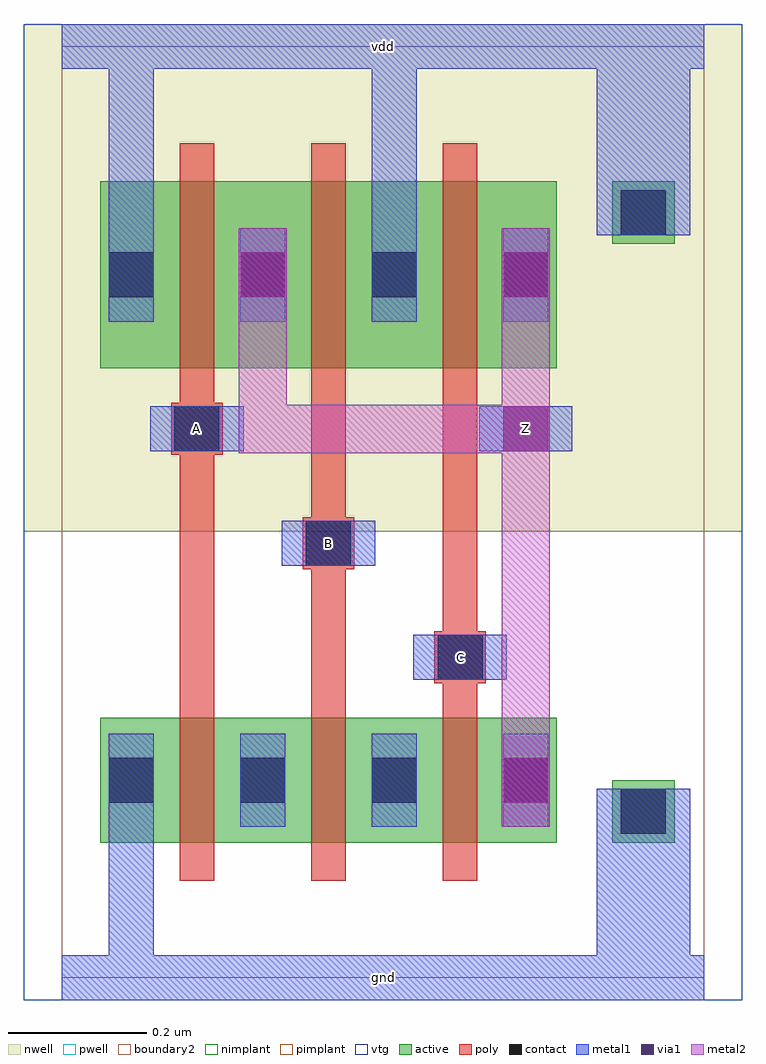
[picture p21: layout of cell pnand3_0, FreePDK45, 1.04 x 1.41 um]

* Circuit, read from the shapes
.subckt pnand3_0 A B C Z gnd vdd
M1 nmos_m1_w0_180_a_p_3/D A gnd gnd nfet w=0.18u l=0.05u
M2 nmos_m1_w0_180_a_p_4/D B nmos_m1_w0_180_a_p_3/D gnd nfet w=0.18u l=0.05u
M3 Z C nmos_m1_w0_180_a_p_4/D gnd nfet w=0.18u l=0.05u
M4 Z A vdd vdd pfet w=0.27u l=0.05u
M5 vdd B Z vdd pfet w=0.27u l=0.05u
M6 Z C vdd vdd pfet w=0.27u l=0.05u
.ends

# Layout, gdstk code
import gdstk
lib = gdstk.Library(unit=1e-6, precision=5e-10)
def R(c, l, rs):  # rectangles x0, y0, x1, y1
    for r in rs: c.add(gdstk.rectangle(r[:2], r[2:], *l))
def A(c, l, x, y, w, h, nx, ny, dx, dy):  # array of equal rectangles
    R(c, l, [(x+i*dx, y+j*dy, x+i*dx+w, y+j*dy+h) for i in range(nx) for j in range(ny)])
active = (1, 0)
pwell = (2, 0)
nwell = (3, 0)
nimplant = (4, 0)
pimplant = (5, 0)
vtg = (6, 0)
poly = (9, 0)
contact = (10, 0)
metal1 = (11, 0)
via1 = (12, 0)
metal2 = (13, 0)
boundary2 = (239, 0)

contact_11 = lib.new_cell('contact_11')
R(contact_11, active, [(0,0.0225,0.09,0.1125)])
R(contact_11, nwell, [(-0.055,-0.0325,0.145,0.1675)])
R(contact_11, pimplant, [(0,0.0225,0.09,0.1125)])
R(contact_11, contact, [(0.0125,0.035,0.0775,0.1)])
R(contact_11, metal1, [(0.0125,0,0.0775,0.135)])

pmos_m1_w0_270_a_p = lib.new_cell('pmos_m1_w0_270_a_p')
R(pmos_m1_w0_270_a_p, active, [(0,0,0.28,0.27)])
R(pmos_m1_w0_270_a_p, nwell, [(-0.055,-0.055,0.335,0.325)])
R(pmos_m1_w0_270_a_p, pimplant, [(0,0,0.28,0.27)])
R(pmos_m1_w0_270_a_p, vtg, [(-0.055,-0.055,0.335,0.325)])
R(pmos_m1_w0_270_a_p, poly, [(0.115,-0.055,0.165,0.325), (0.115,-0.055,0.165,0.325)])
R(pmos_m1_w0_270_a_p, metal1, [(0.0125,0.0675,0.0775,0.2025), (0.2025,0.0675,0.2675,0.2025)])
R(pmos_m1_w0_270_a_p, boundary2, [(-0.055,-0.055,0.335,0.325)])
pmos_m1_w0_270_a_p.add(gdstk.Reference(contact_11, (0,0.0675)))
pmos_m1_w0_270_a_p.add(gdstk.Reference(contact_11, (0.19,0.0675)))
pmos_m1_w0_270_a_p.add(gdstk.Label('G', (0.14,0.135), layer=9, texttype=0))
pmos_m1_w0_270_a_p.add(gdstk.Label('S', (0.045,0.135), layer=11, texttype=0))
pmos_m1_w0_270_a_p.add(gdstk.Label('D', (0.235,0.135), layer=11, texttype=0))

contact_16 = lib.new_cell('contact_16')
R(contact_16, active, [(0,0.0225,0.09,0.1125)])
R(contact_16, pwell, [(-0.055,-0.0325,0.145,0.1675)])
R(contact_16, nimplant, [(0,0.0225,0.09,0.1125)])
R(contact_16, contact, [(0.0125,0.035,0.0775,0.1)])
R(contact_16, metal1, [(0.0125,0,0.0775,0.135)])

nmos_m1_w0_180_a_p = lib.new_cell('nmos_m1_w0_180_a_p')
R(nmos_m1_w0_180_a_p, active, [(0,0,0.28,0.18)])
R(nmos_m1_w0_180_a_p, pwell, [(-0.055,-0.055,0.335,0.235)])
R(nmos_m1_w0_180_a_p, nimplant, [(0,0,0.28,0.18)])
R(nmos_m1_w0_180_a_p, vtg, [(-0.055,-0.055,0.335,0.235)])
R(nmos_m1_w0_180_a_p, poly, [(0.115,-0.055,0.165,0.235), (0.115,-0.055,0.165,0.235)])
R(nmos_m1_w0_180_a_p, metal1, [(0.0125,0.0225,0.0775,0.1575), (0.2025,0.0225,0.2675,0.1575)])
R(nmos_m1_w0_180_a_p, boundary2, [(-0.055,-0.055,0.335,0.235)])
nmos_m1_w0_180_a_p.add(gdstk.Reference(contact_16, (0,0.0225)))
nmos_m1_w0_180_a_p.add(gdstk.Reference(contact_16, (0.19,0.0225)))
nmos_m1_w0_180_a_p.add(gdstk.Label('G', (0.14,0.09), layer=9, texttype=0))
nmos_m1_w0_180_a_p.add(gdstk.Label('S', (0.045,0.09), layer=11, texttype=0))
nmos_m1_w0_180_a_p.add(gdstk.Label('D', (0.235,0.09), layer=11, texttype=0))

contact_13 = lib.new_cell('contact_13')
R(contact_13, active, [(0.0225,0,0.1125,0.09)])
R(contact_13, nwell, [(-0.0325,-0.055,0.1675,0.145)])
R(contact_13, nimplant, [(0.0225,0,0.1125,0.09)])
R(contact_13, contact, [(0.035,0.0125,0.1,0.0775)])
R(contact_13, metal1, [(0,0.0125,0.135,0.0775)])

contact_17 = lib.new_cell('contact_17')
R(contact_17, active, [(0.0225,0,0.1125,0.09)])
R(contact_17, pwell, [(-0.0325,-0.055,0.1675,0.145)])
R(contact_17, pimplant, [(0.0225,0,0.1125,0.09)])
R(contact_17, contact, [(0.035,0.0125,0.1,0.0775)])
R(contact_17, metal1, [(0,0.0125,0.135,0.0775)])

contact_12 = lib.new_cell('contact_12')
R(contact_12, poly, [(0.03,0,0.105,0.075)])
R(contact_12, contact, [(0.035,0.005,0.1,0.07)])
R(contact_12, metal1, [(0,0.005,0.135,0.07)])

contact_14 = lib.new_cell('contact_14')
R(contact_14, metal1, [(0.0025,0,0.0675,0.135)])
R(contact_14, via1, [(0.0025,0.035,0.0675,0.1)])
R(contact_14, metal2, [(0,0,0.07,0.135)])

contact_19 = lib.new_cell('contact_19')
R(contact_19, metal1, [(0,0.035,0.135,0.1)])
R(contact_19, via1, [(0.035,0.035,0.1,0.1)])
R(contact_19, metal2, [(0.0325,0,0.1025,0.135)])

pnand3_0 = lib.new_cell('pnand3_0')
R(pnand3_0, pwell, [(-0.055,-0.0325,0.9825,0.645)])
R(pnand3_0, nwell, [(-0.055,0.645,0.9825,1.3775)])
R(pnand3_0, vtg, [(-0.055,-0.0325,0.9825,0.645), (-0.055,0.645,0.9825,1.3775)])
A(pnand3_0, poly, 0.17, 0.43, 0.05, 0.395, 3, 1, 0.19, 0)
R(pnand3_0, poly, [(0.55,0.425,0.575,0.5), (0.36,0.59,0.385,0.665), (0.17,0.755,0.195,0.83)])
R(pnand3_0, metal1, [(0,-0.0325,0.9275,0.0325), (0.0675,-0.0325,0.1325,0.2175), (0.7725,0,0.9075,0.24), (0.5075,0.43,0.6425,0.495), (0.3175,0.595,0.4525,0.66), (0.1275,0.76,0.2625,0.825), (0.6025,0.76,0.7375,0.825), (0.0675,0.9475,0.1325,1.3775), (0.4475,0.9475,0.5125,1.3775), (0.7725,1.105,0.9075,1.345), (0,1.3125,0.9275,1.3775)])
R(pnand3_0, metal2, [(0.635,0.3525,0.705,1.015), (0.635,0.3525,0.705,0.7925), (0.255,0.7575,0.325,0.8275), (0.29,0.7575,0.67,0.8275), (0.635,0.7575,0.705,0.8275), (0.255,0.7925,0.325,1.015)])
R(pnand3_0, boundary2, [(0,0,0.9275,1.345)])
pnand3_0.add(gdstk.Reference(pmos_m1_w0_270_a_p, (0.055,0.88)))
pnand3_0.add(gdstk.Reference(pmos_m1_w0_270_a_p, (0.245,0.88)))
pnand3_0.add(gdstk.Reference(pmos_m1_w0_270_a_p, (0.435,0.88)))
pnand3_0.add(gdstk.Reference(nmos_m1_w0_180_a_p, (0.055,0.195)))
pnand3_0.add(gdstk.Reference(nmos_m1_w0_180_a_p, (0.245,0.195)))
pnand3_0.add(gdstk.Reference(nmos_m1_w0_180_a_p, (0.435,0.195)))
pnand3_0.add(gdstk.Reference(contact_13, (0.7725,1.06)))
pnand3_0.add(gdstk.Reference(contact_17, (0.7725,0.195)))
pnand3_0.add(gdstk.Reference(contact_12, (0.5075,0.425)))
pnand3_0.add(gdstk.Reference(contact_12, (0.3175,0.59)))
pnand3_0.add(gdstk.Reference(contact_12, (0.1275,0.755)))
pnand3_0.add(gdstk.Reference(contact_14, (0.255,0.9475)))
pnand3_0.add(gdstk.Reference(contact_14, (0.635,0.9475)))
pnand3_0.add(gdstk.Reference(contact_14, (0.635,0.2175)))
pnand3_0.add(gdstk.Reference(contact_19, (0.6025,0.725)))
pnand3_0.add(gdstk.Label('gnd', (0.464,0), layer=11, texttype=0))
pnand3_0.add(gdstk.Label('vdd', (0.464,1.345), layer=11, texttype=0))
pnand3_0.add(gdstk.Label('C', (0.575,0.4625), layer=11, texttype=0))
pnand3_0.add(gdstk.Label('B', (0.385,0.6275), layer=11, texttype=0))
pnand3_0.add(gdstk.Label('A', (0.195,0.7925), layer=11, texttype=0))
pnand3_0.add(gdstk.Label('Z', (0.67,0.7925), layer=11, texttype=0))

lib.write_gds('pnand3_0.gds')
